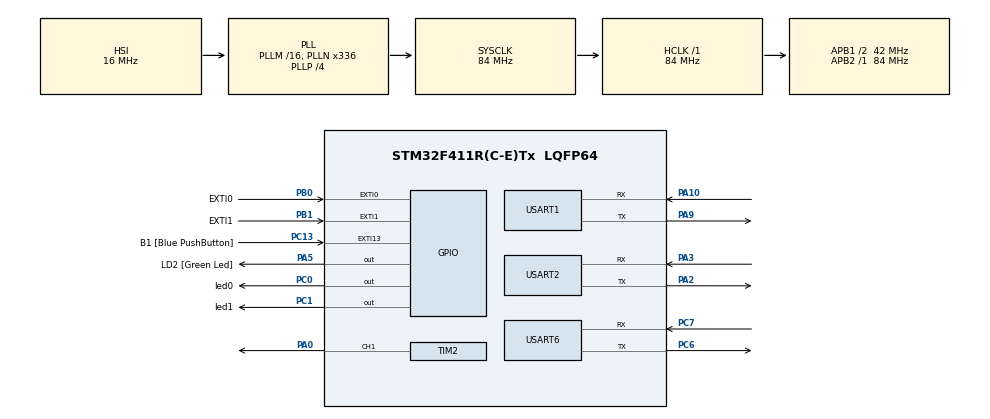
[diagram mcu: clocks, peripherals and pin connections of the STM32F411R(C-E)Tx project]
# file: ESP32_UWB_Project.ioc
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Dma.Request0=USART6_RX
Dma.Request1=USART1_RX
Dma.Request2=USART2_RX
Dma.USART1_RX.1.Direction=DMA_PERIPH_TO_MEMORY
Dma.USART1_RX.1.FIFOMode=DMA_FIFOMODE_DISABLE
Dma.USART1_RX.1.Instance=DMA2_Stream2
Dma.USART1_RX.1.MemDataAlignment=DMA_MDATAALIGN_BYTE
Dma.USART1_RX.1.MemInc=DMA_MINC_ENABLE
Dma.USART1_RX.1.Mode=DMA_NORMAL
Dma.USART1_RX.1.PeriphDataAlignment=DMA_PDATAALIGN_BYTE
Dma.USART1_RX.1.PeriphInc=DMA_PINC_DISABLE
Dma.USART1_RX.1.Priority=DMA_PRIORITY_LOW
Dma.USART2_RX.2.Direction=DMA_PERIPH_TO_MEMORY
Dma.USART2_RX.2.FIFOMode=DMA_FIFOMODE_DISABLE
Dma.USART2_RX.2.Instance=DMA1_Stream5
Dma.USART2_RX.2.MemDataAlignment=DMA_MDATAALIGN_BYTE
Dma.USART2_RX.2.MemInc=DMA_MINC_ENABLE
Dma.USART2_RX.2.Mode=DMA_NORMAL
Dma.USART2_RX.2.PeriphDataAlignment=DMA_PDATAALIGN_BYTE
Dma.USART2_RX.2.PeriphInc=DMA_PINC_DISABLE
Dma.USART2_RX.2.Priority=DMA_PRIORITY_LOW
Dma.USART6_RX.0.Direction=DMA_PERIPH_TO_MEMORY
Dma.USART6_RX.0.FIFOMode=DMA_FIFOMODE_DISABLE
Dma.USART6_RX.0.Instance=DMA2_Stream1
Dma.USART6_RX.0.MemDataAlignment=DMA_MDATAALIGN_BYTE
Dma.USART6_RX.0.MemInc=DMA_MINC_ENABLE
Dma.USART6_RX.0.Mode=DMA_NORMAL
Dma.USART6_RX.0.PeriphDataAlignment=DMA_PDATAALIGN_BYTE
Dma.USART6_RX.0.PeriphInc=DMA_PINC_DISABLE
Dma.USART6_RX.0.Priority=DMA_PRIORITY_LOW
Mcu.Family=STM32F4
Mcu.Name=STM32F411R(C-E)Tx
Mcu.Package=LQFP64
NVIC.DMA1_Stream5_IRQn=true\:0\:0\:false\:true\:true\:8\:false\:true\:true
NVIC.DMA2_Stream1_IRQn=true\:0\:0\:false\:true\:true\:5\:false\:true\:true
NVIC.DMA2_Stream2_IRQn=true\:0\:0\:false\:true\:true\:7\:false\:true\:true
NVIC.EXTI0_IRQn=true\:0\:0\:false\:true\:true\:1\:true\:true\:true
NVIC.EXTI1_IRQn=true\:0\:0\:false\:true\:true\:2\:true\:true\:true
NVIC.PriorityGroup=NVIC_PRIORITYGROUP_0
NVIC.USART1_IRQn=true\:0\:0\:false\:true\:true\:3\:true\:true\:true
NVIC.USART2_IRQn=true\:0\:0\:false\:true\:true\:4\:true\:true\:true
NVIC.USART6_IRQn=true\:0\:0\:false\:true\:true\:6\:true\:true\:true
PA0-WKUP.Signal=S_TIM2_CH1_ETR
PA10.Mode=Asynchronous
PA10.Signal=USART1_RX
PA14.GPIO_Label=TCK
PA14.Signal=SYS_JTCK-SWCLK
PA2.Mode=Asynchronous
PA2.Signal=USART2_TX
PA3.Mode=Asynchronous
PA3.Signal=USART2_RX
PA5.GPIO_Label=LD2 [Green Led]
PA5.Signal=GPIO_Output
PA9.Mode=Asynchronous
PA9.Signal=USART1_TX
PB0.GPIO_Label=EXTI0
PB0.Signal=GPXTI0
PB1.GPIO_Label=EXTI1
PB1.Signal=GPXTI1
PB3.GPIO_Label=SWO
PB3.Signal=SYS_JTDO-SWO
PC0.GPIO_Label=led0
PC0.Signal=GPIO_Output
PC1.GPIO_Label=led1
PC1.Signal=GPIO_Output
PC13-ANTI_TAMP.GPIO_Label=B1 [Blue PushButton]
PC13-ANTI_TAMP.GPIO_ModeDefaultEXTI=GPIO_MODE_IT_FALLING
PC13-ANTI_TAMP.Signal=GPXTI13
PC14-OSC32_IN.Mode=LSE-External-Oscillator
PC14-OSC32_IN.Signal=RCC_OSC32_IN
PC15-OSC32_OUT.Mode=LSE-External-Oscillator
PC15-OSC32_OUT.Signal=RCC_OSC32_OUT
PC6.Mode=Asynchronous
PC6.Signal=USART6_TX
PC7.Mode=Asynchronous
PC7.Signal=USART6_RX
PH0\ -\ OSC_IN.Mode=HSE-External-Clock-Source
PH0\ -\ OSC_IN.Signal=RCC_OSC_IN
PH1\ -\ OSC_OUT.Mode=HSE-External-Clock-Source
PH1\ -\ OSC_OUT.Signal=RCC_OSC_OUT
ProjectManager.HeapSize=0x200
ProjectManager.StackSize=0x400
ProjectManager.TargetToolchain=STM32CubeIDE
RCC.48MHZClocksFreq_Value=84000000
RCC.AHBFreq_Value=84000000
RCC.APB1CLKDivider=RCC_HCLK_DIV2
RCC.APB1Freq_Value=42000000
RCC.APB1TimFreq_Value=84000000
RCC.APB2Freq_Value=84000000
RCC.APB2TimFreq_Value=84000000
RCC.CortexFreq_Value=84000000
RCC.FLatency-AdvancedSettings=FLASH_LATENCY_2
RCC.HCLKFreq_Value=84000000
RCC.HSE_VALUE=8000000
RCC.HSI_VALUE=16000000
RCC.PLLN=336
RCC.PLLP=RCC_PLLP_DIV4
RCC.SYSCLKFreq_VALUE=84000000
RCC.SYSCLKSource=RCC_SYSCLKSOURCE_PLLCLK
RCC.VCOOutputFreq_Value=336000000
SH.S_TIM2_CH1_ETR.0=TIM2_CH1,PWM Generation1 CH1
TIM2.Channel-PWM\ Generation1\ CH1=TIM_CHANNEL_1
TIM2.Period=1000-1
TIM2.Prescaler=21-1
TIM2.Pulse-PWM\ Generation1\ CH1=500
USART1.VirtualMode=VM_ASYNC
USART2.VirtualMode=VM_ASYNC
USART6.VirtualMode=VM_ASYNC
VP_TIM2_VS_ClockSourceINT.Mode=Internal
board=NUCLEO-F411RE

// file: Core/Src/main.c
/* USER CODE BEGIN Header */
/**
  ******************************************************************************
  * @file           : main.c
  * @brief          : Main program body
  ******************************************************************************
  * @attention
  *
  * Copyright (c) 2024 STMicroelectronics.
  * All rights reserved.
  *
  * This software is licensed under terms that can be found in the LICENSE file
  * in the root directory of this software component.
  * If no LICENSE file comes with this software, it is provided AS-IS.
  *
  ******************************************************************************
  */
/* USER CODE END Header */
#include "main.h"

/* USER CODE BEGIN Includes */

#include <stdio.h> // sprintf 등
#include <math.h>
#include <string.h> // strlen(const char *s) 등
#include <stdlib.h> //  exit() atoi() rand() srand() system()

/* USER CODE END Includes */

/* USER CODE BEGIN PD */

#define RxBuf_SIZE_uart1 8
#define MainBuf_SIZE_uart1 8
#define RxBuf_SIZE_uart2 8
#define MainBuf_SIZE_uart2 8

/* USER CODE END PD */

TIM_HandleTypeDef htim2;

UART_HandleTypeDef huart1;
UART_HandleTypeDef huart2;
UART_HandleTypeDef huart6;
DMA_HandleTypeDef hdma_usart1_rx;
DMA_HandleTypeDef hdma_usart2_rx;
DMA_HandleTypeDef hdma_usart6_rx;

/* USER CODE BEGIN PV */

extern DMA_HandleTypeDef hdma_usart1_rx;
uint8_t RxBuf_uart1[RxBuf_SIZE_uart1];
uint8_t MainBuf_uart1[MainBuf_SIZE_uart1];
extern DMA_HandleTypeDef hdma_usart6_rx;
uint8_t RxBuf_uart2[RxBuf_SIZE_uart2];
uint8_t MainBuf_uart2[MainBuf_SIZE_uart2];

/* USER CODE END PV */

void SystemClock_Config(void);
static void MX_GPIO_Init(void);
static void MX_DMA_Init(void);
static void MX_USART2_UART_Init(void);
static void MX_USART1_UART_Init(void);
static void MX_USART6_UART_Init(void);
static void MX_TIM2_Init(void);
static void MX_NVIC_Init(void);
/* USER CODE BEGIN PFP */

//printf
#ifdef __GNUC__
#define PUTCHAR_PROTOTYPE int __io_putchar(int ch)
#else
#define PUTCHAR_PROTOTYPE int fputc(int ch, FILE *f)
#endif

/**
 * @brief Retargets the C library printf function to the USART
 * @param None
 * @retval None
 */

//printf
PUTCHAR_PROTOTYPE{
   if (ch == '\n') HAL_UART_Transmit(&huart2, (uint8_t*)"\r", 1, 0xFFFF);
   HAL_UART_Transmit(&huart2, (uint8_t*)&ch, 1, 0xFFFF);
   return ch;
}

/* USER CODE END PFP */

/* USER CODE BEGIN 0 */

float rx_value_uart1 = 0.0;
float rx_value_uart2 = 0.0;

//average filter
#define MASK_LENGTH 5
uint16_t raw_array_1[MASK_LENGTH] = {0,};
uint16_t raw_array_index_1 = 0;
uint16_t raw_array_2[MASK_LENGTH] = {0,};
uint16_t raw_array_index_2 = 0;

//average value
float ch1_value0 = 0.0;
float ch1_value1 = 0.0;
float ch1_value2 = 0.0;
float ch1_value3 = 0.0;
float ch1_value4 = 0.0;

float ch2_value0 = 0.0;
float ch2_value1 = 0.0;
float ch2_value2 = 0.0;
float ch2_value3 = 0.0;
float ch2_value4 = 0.0;
float ch2_value5 = 0.0;

float sum_1 = 0.0;
float sum_2 = 0.0;

uint8_t TxBuf_1[8] = {0,};
uint8_t TxBuf_2[8] = {0,};

//UART_RX DMA
uint16_t oldPos_uart1 = 0;
uint16_t newPos_uart1 = 0;
uint16_t oldPos_uart2 = 0;
uint16_t newPos_uart2 = 0;

//////////////////////////MOTOR///////////////////////
#define straight 0xaa
#define right 0xbb
#define left 0xcc

//모터드라이버 엔코더 값 기준으로 직진 보정한 pwm 값
#define motor_pwm1_L 320
#define motor_pwm2_R 340

int speed_ch1,speed_ch2;
uint8_t MOTOR_SPEED_UWB[12] = {0,};

unsigned short MOTOR_CRC(unsigned char *addr, int num)
{
   unsigned short MOTOR_CRC = 0xFFFF;
   int i;
   while (num--)
   {
      MOTOR_CRC ^= *addr++;
      for (i = 0; i < 8; i++)
      {
         if (MOTOR_CRC & 1)
         {
            MOTOR_CRC >>= 1;
            MOTOR_CRC ^= 0xA001;
         }
         else
         {
            MOTOR_CRC >>= 1;
         }
      }
   }
   return MOTOR_CRC;
}

void Packet_UWB(int Speed_Value1 , int Speed_Value2, int direction)
{
   MOTOR_SPEED_UWB[0] = 0x11;
   MOTOR_SPEED_UWB[1] = 0x22;

   //uwb_data_1
   MOTOR_SPEED_UWB[2] = (Speed_Value1 >> 8) & 0xFF;
   MOTOR_SPEED_UWB[3] = Speed_Value1 & 0xFF;

   //uwb_data_2
   MOTOR_SPEED_UWB[4] = (Speed_Value2 >> 8) & 0xFF;
   MOTOR_SPEED_UWB[5] = Speed_Value2 & 0xFF;

   unsigned int crcValue = MOTOR_CRC(MOTOR_SPEED_UWB, 6);
   MOTOR_SPEED_UWB[7] = (crcValue >> 8) & 0xFF;
   MOTOR_SPEED_UWB[6] = crcValue & 0xFF;

   MOTOR_SPEED_UWB[8] = 0x08;
   MOTOR_SPEED_UWB[9] = 0x09;

   if(direction == 1)
   {
      MOTOR_SPEED_UWB[10] = straight;
   }
   else if(direction == 2)
   {
      MOTOR_SPEED_UWB[10] = right;
   }
   else if(direction == 3)
   {
      MOTOR_SPEED_UWB[10] = left;
   }

   MOTOR_SPEED_UWB[11] = 0xEE; //address check
   HAL_Delay(1);

   HAL_UART_Transmit(&huart1, MOTOR_SPEED_UWB, 12, 100);
   //HAL_UART_Transmit(&huart2, MOTOR_SPEED_UWB, 12, 100); //terminal
   memset(MOTOR_SPEED_UWB, 0, sizeof(MOTOR_SPEED_UWB));
}

void MOTOR_control()
{
   if(sum_1 <= 0.5 && sum_2 <= 0.5)
   {
      speed_ch1 = 0;
      speed_ch2 = 0;
      Packet_UWB(speed_ch1,speed_ch2 , 1);
      HAL_Delay(1);
      if(sum_1 < 0.3 && sum_2 < 0.3)
      {
    	  HAL_TIM_PWM_Start(&htim2, TIM_CHANNEL_1); // Buzzer ON
      }
      else
      {
    	  HAL_TIM_PWM_Stop(&htim2, TIM_CHANNEL_1);  // Buzzer OFF
      }
   }
   else if(sum_1 > 0.5 && sum_2 > 0.5 )
   {
	   HAL_TIM_PWM_Stop(&htim2, TIM_CHANNEL_1);  // Buzzer OFF
      if(sum_1 - sum_2 > 0.1)
      {
         speed_ch1 = motor_pwm1_L + 200 ;
         speed_ch2 = motor_pwm2_R   ;
      }
      else if(sum_1 - sum_2 < -0.1)
      {
         speed_ch1 = motor_pwm1_L ;
         speed_ch2 = motor_pwm2_R + 200 ;
      }
      else if(sum_1 >= 1.5 && sum_2 >= 1.5)
      {
         if(sum_1 - sum_2 < 0.2)
         {
            speed_ch1 = motor_pwm1_L + (sum_1*150) + 200 ;
            speed_ch2 = motor_pwm2_R + (sum_2*150);
         }
         else if(sum_1 - sum_2 < -0.2)
         {
            speed_ch1 = motor_pwm1_L + (sum_1*150);
            speed_ch2 = motor_pwm2_R + (sum_2*150) + 200 ;
         }
         else
         {
            speed_ch1 = motor_pwm1_L + (sum_1*150);
            speed_ch2 = motor_pwm2_R + (sum_2*150);
         }
      }
      else
      {
         speed_ch1 = motor_pwm1_L ;
         speed_ch2 = motor_pwm2_R ;
      }
      Packet_UWB(speed_ch1 , speed_ch2 , 1);
      //HAL_Delay(1);
   }
   else if(sum_1 > 0.5 && sum_2 < 0.5 )
   {
	   HAL_TIM_PWM_Stop(&htim2, TIM_CHANNEL_1);  // Buzzer OFF
      speed_ch1 = motor_pwm1_L + 50;
      speed_ch2 = motor_pwm2_R + 50;
      Packet_UWB(speed_ch1, speed_ch2 , 2);
   }
   else if(sum_1 < 0.5 && sum_2 > 0.5 )
   {
	   HAL_TIM_PWM_Stop(&htim2, TIM_CHANNEL_1);  // Buzzer OFF
      speed_ch1 = motor_pwm1_L + 50;
      speed_ch2 = motor_pwm2_R + 50;
      Packet_UWB(speed_ch1, speed_ch2 , 3);
   }
}
///////////////////////////////MOTOR//////////////////////////////////

unsigned Array_flag_ch1 = 0;
unsigned Array_flag_ch2 = 0;
void insertIntoRawArray_ch1(float value)
{
   if(value >= 200)
   {//데이터 튀는 값 저장X
   }
   else if(value < 200)
   {
      if(raw_array_index_1 == 0) ch1_value0 = value;
      else if(raw_array_index_1 == 1) ch1_value1 = value;
      //else if(raw_array_index_1 == 2) ch1_value2 = value;
      //else if(raw_array_index_1 == 3) ch1_value3 = value;
      //else if(raw_array_index_1 == 4) ch1_value4 = value;
      raw_array_index_1++;

      if (raw_array_index_1 >= 2)
      {
          //sum_1 = ( ch1_value0 + ch1_value1 + ch1_value2 + ch1_value3 + ch1_value4 ) / MASK_LENGTH ;
          sum_1 =  (ch1_value0 + ch1_value1) / 2 ;
          //printf("%f\n\r", sum_1);

          uint8_t TX_sum[50];
          sprintf((char*)TX_sum, "sum_1 : %f \r\n", sum_1);
          HAL_UART_Transmit(&huart2, TX_sum, strlen((const char *)TX_sum), 100); //terminal

          raw_array_index_1 = 0;
          Array_flag_ch1 = 1;
       }
   }
}

void insertIntoRawArray_ch2(float value)
{
   if(value >= 200)
   {//데이터 튀는 값 저장X
   }
   else if(value < 200)
   {
      if(raw_array_index_2 == 0) ch2_value0 = value;
      //else if(raw_array_index_2 == 1) ch2_value1 = value;
      //else if(raw_array_index_2 == 2) ch2_value2 = value;
      //else if(raw_array_index_2 == 3) ch2_value3 = value;

      raw_array_index_2++;

      if (raw_array_index_2 >= 1)
      {
          //sum_2 = ( ch2_value0 + ch2_value1 + ch2_value2 + ch2_value3 ) / 4 ;

          sum_2 = ch2_value0 ;
          //printf("%f\n\r",sum_2);

          uint8_t TX_sum[50];
          sprintf((char*)TX_sum, "sum_2 : %f \r\n", sum_2);
          HAL_UART_Transmit(&huart2, TX_sum, strlen((const char *)TX_sum), 100); //terminal
          raw_array_index_2 = 0;
          Array_flag_ch2 = 1;
      }
   }
}

//UART DMA RX , [UART1 , UART6]
//ESP32_UWB , data RX
void HAL_UARTEx_RxEventCallback(UART_HandleTypeDef *huart, uint16_t Size)
{
   if (huart->Instance == USART1)
   {
      oldPos_uart1 = newPos_uart1;

      if (oldPos_uart1+Size > MainBuf_SIZE_uart1)
      {
         uint16_t datatocopy = MainBuf_SIZE_uart1-oldPos_uart1;
         memcpy ((uint8_t *)MainBuf_uart1+oldPos_uart1, RxBuf_uart1, datatocopy);

         oldPos_uart1 = 0;
         memcpy ((uint8_t *)MainBuf_uart1, (uint8_t *)RxBuf_uart1+datatocopy, (Size-datatocopy));
         newPos_uart1 = (Size-datatocopy);
      }
      else
      {
         memcpy ((uint8_t *)MainBuf_uart1+oldPos_uart1, RxBuf_uart1, Size);
         newPos_uart1 = Size+oldPos_uart1;
      }

      /* start the DMA again */
      HAL_UARTEx_ReceiveToIdle_DMA(&huart1, (uint8_t *) RxBuf_uart1, RxBuf_SIZE_uart1);
      __HAL_DMA_DISABLE_IT(&hdma_usart1_rx, DMA_IT_HT);
      //HAL_UART_Transmit_IT(&huart2 ,(uint8_t *) RxBuf_uart1,RxBuf_SIZE_uart1);
      sscanf((char *)RxBuf_uart1,"%f",&rx_value_uart1);

      if(rx_value_uart1 >= 0)
      {
         //average filter
            insertIntoRawArray_ch1(rx_value_uart1);
      }
      else insertIntoRawArray_ch1(0); //음수 데이터로 튀는 값은 0 처리

      //ESP32_UWB DATA TEST
      //*************************************************//
      /*if(rx_value_uart1 < 10.0)
      {
         //HAL_GPIO_WritePin(GPIOC, led0_Pin, GPIO_PIN_SET);
      }

      if(rx_value_uart1 >= 10.0)
      {
         //HAL_GPIO_WritePin(GPIOC, led0_Pin, GPIO_PIN_RESET);
      }*/
      //*************************************************//
   }

   if (huart->Instance == USART6)
   {
      oldPos_uart2 = newPos_uart2;  // Update the last position before copying new data

      if (oldPos_uart2+Size > MainBuf_SIZE_uart2)  // If the current position + new data size is greater than the main buffer
      {
         uint16_t datatocopy_2 = MainBuf_SIZE_uart2-oldPos_uart2;  // find out how much space is left in the main buffer
         memcpy ((uint8_t *)MainBuf_uart2+oldPos_uart2, RxBuf_uart2, datatocopy_2);  // copy data in that remaining space

         oldPos_uart2 = 0;  // point to the start of the buffer
         memcpy ((uint8_t *)MainBuf_uart2, (uint8_t *)RxBuf_uart2+datatocopy_2, (Size-datatocopy_2));  // copy the remaining data
         newPos_uart2 = (Size-datatocopy_2);  // update the position
      }

      else
      {
         memcpy ((uint8_t *)MainBuf_uart2+oldPos_uart2, RxBuf_uart2, Size);
         newPos_uart2 = Size+oldPos_uart2;
      }

      /* start the DMA again */
      HAL_UARTEx_ReceiveToIdle_DMA(&huart6, (uint8_t *) RxBuf_uart2, RxBuf_SIZE_uart2);
      __HAL_DMA_DISABLE_IT(&hdma_usart6_rx, DMA_IT_HT);
      //HAL_UART_Transmit_IT(&huart2 ,(uint8_t *) RxBuf_uart2,RxBuf_SIZE_uart2);
      sscanf((char *) RxBuf_uart2,"%f",&rx_value_uart2);

      if(rx_value_uart2 >= 0)
      {
         //average filter
            insertIntoRawArray_ch2(rx_value_uart2);
      }
      else insertIntoRawArray_ch2(0); //음수 데이터로 튀는 값은 0 처리

      /*if(rx_value_uart2 < 10.0)
      {
        //HAL_GPIO_WritePin(GPIOC, led1_Pin, GPIO_PIN_SET);
      }

      if(rx_value_uart2 >= 10.0)
      {
         //HAL_GPIO_WritePin(GPIOC, led1_Pin, GPIO_PIN_RESET);
      }*/
   }
}

//Buzzer
void Warning_Sound()
{
	 HAL_TIM_PWM_Start(&htim2, TIM_CHANNEL_1); // Buzzer ON
	 //HAL_Delay(3000); // 3s ON
	 HAL_TIM_PWM_Stop(&htim2, TIM_CHANNEL_1);  // Buzzer OFF
}

/* USER CODE END 0 */

int main(void)
{

  /* MCU Configuration--------------------------------------------------------*/

  /* Reset of all peripherals, Initializes the Flash interface and the Systick. */
  HAL_Init();

  /* Configure the system clock */
  SystemClock_Config();

  /* Initialize all configured peripherals */
  MX_GPIO_Init();
  MX_DMA_Init();
  MX_USART2_UART_Init();
  MX_USART1_UART_Init();
  MX_USART6_UART_Init();
  MX_TIM2_Init();

  /* Initialize interrupts */
  MX_NVIC_Init();
  /* USER CODE BEGIN 2 */

 /////////////////////stm32 comportmaster check
  HAL_UART_Transmit_IT(&huart2 ,(uint8_t *) RxBuf_uart2,RxBuf_SIZE_uart2);
  //////////////////////////

  //uart_DMA
  HAL_UARTEx_ReceiveToIdle_DMA(&huart1, RxBuf_uart1, RxBuf_SIZE_uart1);
  __HAL_DMA_DISABLE_IT(&hdma_usart1_rx, DMA_IT_HT); //Half Transfer ,DISABLE
  HAL_UARTEx_ReceiveToIdle_DMA(&huart6, RxBuf_uart2, RxBuf_SIZE_uart2);
  __HAL_DMA_DISABLE_IT(&hdma_usart6_rx, DMA_IT_HT);

  //HAL_UART_Receive_DMA(&huart6, &rx_dma_data6, 8);

  //uart test
  //HAL_UART_Transmit(&huart2, "hello\n\r", 6,100);

  //HAL_Delay(10);

  /* USER CODE END 2 */

  /* Infinite loop */
  while (1)
  {

    /* USER CODE BEGIN 3 */
     if( (Array_flag_ch1 == 1) && (Array_flag_ch2 == 1) )
     {
    	MOTOR_control();
        Array_flag_ch1 = 0;
        Array_flag_ch2 = 0;
     }

  }
  /* USER CODE END 3 */
}

void SystemClock_Config(void)
{
  RCC_OscInitTypeDef RCC_OscInitStruct = {0};
  RCC_ClkInitTypeDef RCC_ClkInitStruct = {0};

  /** Configure the main internal regulator output voltage
  */
  __HAL_RCC_PWR_CLK_ENABLE();
  __HAL_PWR_VOLTAGESCALING_CONFIG(PWR_REGULATOR_VOLTAGE_SCALE1);

  /** Initializes the RCC Oscillators according to the specified parameters
  * in the RCC_OscInitTypeDef structure.
  */
  RCC_OscInitStruct.OscillatorType = RCC_OSCILLATORTYPE_HSI;
  RCC_OscInitStruct.HSIState = RCC_HSI_ON;
  RCC_OscInitStruct.HSICalibrationValue = RCC_HSICALIBRATION_DEFAULT;
  RCC_OscInitStruct.PLL.PLLState = RCC_PLL_ON;
  RCC_OscInitStruct.PLL.PLLSource = RCC_PLLSOURCE_HSI;
  RCC_OscInitStruct.PLL.PLLM = 16;
  RCC_OscInitStruct.PLL.PLLN = 336;
  RCC_OscInitStruct.PLL.PLLP = RCC_PLLP_DIV4;
  RCC_OscInitStruct.PLL.PLLQ = 4;
  if (HAL_RCC_OscConfig(&RCC_OscInitStruct) != HAL_OK)
  {
    Error_Handler();
  }

  /** Initializes the CPU, AHB and APB buses clocks
  */
  RCC_ClkInitStruct.ClockType = RCC_CLOCKTYPE_HCLK|RCC_CLOCKTYPE_SYSCLK
                              |RCC_CLOCKTYPE_PCLK1|RCC_CLOCKTYPE_PCLK2;
  RCC_ClkInitStruct.SYSCLKSource = RCC_SYSCLKSOURCE_PLLCLK;
  RCC_ClkInitStruct.AHBCLKDivider = RCC_SYSCLK_DIV1;
  RCC_ClkInitStruct.APB1CLKDivider = RCC_HCLK_DIV2;
  RCC_ClkInitStruct.APB2CLKDivider = RCC_HCLK_DIV1;

  if (HAL_RCC_ClockConfig(&RCC_ClkInitStruct, FLASH_LATENCY_2) != HAL_OK)
  {
    Error_Handler();
  }
}

/**
  * @brief NVIC Configuration.
  * @retval None
  */
static void MX_NVIC_Init(void)
{
  /* EXTI0_IRQn interrupt configuration */
  HAL_NVIC_SetPriority(EXTI0_IRQn, 0, 0);
  HAL_NVIC_EnableIRQ(EXTI0_IRQn);
  /* EXTI1_IRQn interrupt configuration */
  HAL_NVIC_SetPriority(EXTI1_IRQn, 0, 0);
  HAL_NVIC_EnableIRQ(EXTI1_IRQn);
  /* USART1_IRQn interrupt configuration */
  HAL_NVIC_SetPriority(USART1_IRQn, 0, 0);
  HAL_NVIC_EnableIRQ(USART1_IRQn);
  /* USART2_IRQn interrupt configuration */
  HAL_NVIC_SetPriority(USART2_IRQn, 0, 0);
  HAL_NVIC_EnableIRQ(USART2_IRQn);
  /* DMA2_Stream1_IRQn interrupt configuration */
  HAL_NVIC_SetPriority(DMA2_Stream1_IRQn, 0, 0);
  HAL_NVIC_EnableIRQ(DMA2_Stream1_IRQn);
  /* USART6_IRQn interrupt configuration */
  HAL_NVIC_SetPriority(USART6_IRQn, 0, 0);
  HAL_NVIC_EnableIRQ(USART6_IRQn);
  /* DMA2_Stream2_IRQn interrupt configuration */
  HAL_NVIC_SetPriority(DMA2_Stream2_IRQn, 0, 0);
  HAL_NVIC_EnableIRQ(DMA2_Stream2_IRQn);
  /* DMA1_Stream5_IRQn interrupt configuration */
  HAL_NVIC_SetPriority(DMA1_Stream5_IRQn, 0, 0);
  HAL_NVIC_EnableIRQ(DMA1_Stream5_IRQn);
}

static void MX_TIM2_Init(void)
{

  TIM_ClockConfigTypeDef sClockSourceConfig = {0};
  TIM_MasterConfigTypeDef sMasterConfig = {0};
  TIM_OC_InitTypeDef sConfigOC = {0};

  htim2.Instance = TIM2;
  htim2.Init.Prescaler = 21-1;
  htim2.Init.CounterMode = TIM_COUNTERMODE_UP;
  htim2.Init.Period = 1000-1;
  htim2.Init.ClockDivision = TIM_CLOCKDIVISION_DIV1;
  htim2.Init.AutoReloadPreload = TIM_AUTORELOAD_PRELOAD_DISABLE;
  if (HAL_TIM_Base_Init(&htim2) != HAL_OK)
  {
    Error_Handler();
  }
  sClockSourceConfig.ClockSource = TIM_CLOCKSOURCE_INTERNAL;
  if (HAL_TIM_ConfigClockSource(&htim2, &sClockSourceConfig) != HAL_OK)
  {
    Error_Handler();
  }
  if (HAL_TIM_PWM_Init(&htim2) != HAL_OK)
  {
    Error_Handler();
  }
  sMasterConfig.MasterOutputTrigger = TIM_TRGO_RESET;
  sMasterConfig.MasterSlaveMode = TIM_MASTERSLAVEMODE_DISABLE;
  if (HAL_TIMEx_MasterConfigSynchronization(&htim2, &sMasterConfig) != HAL_OK)
  {
    Error_Handler();
  }
  sConfigOC.OCMode = TIM_OCMODE_PWM1;
  sConfigOC.Pulse = 500;
  sConfigOC.OCPolarity = TIM_OCPOLARITY_HIGH;
  sConfigOC.OCFastMode = TIM_OCFAST_DISABLE;
  if (HAL_TIM_PWM_ConfigChannel(&htim2, &sConfigOC, TIM_CHANNEL_1) != HAL_OK)
  {
    Error_Handler();
  }
  HAL_TIM_MspPostInit(&htim2);

}

static void MX_USART1_UART_Init(void)
{

  huart1.Instance = USART1;
  huart1.Init.BaudRate = 115200;
  huart1.Init.WordLength = UART_WORDLENGTH_8B;
  huart1.Init.StopBits = UART_STOPBITS_1;
  huart1.Init.Parity = UART_PARITY_NONE;
  huart1.Init.Mode = UART_MODE_TX_RX;
  huart1.Init.HwFlowCtl = UART_HWCONTROL_NONE;
  huart1.Init.OverSampling = UART_OVERSAMPLING_16;
  if (HAL_UART_Init(&huart1) != HAL_OK)
  {
    Error_Handler();
  }

}

static void MX_USART2_UART_Init(void)
{

  huart2.Instance = USART2;
  huart2.Init.BaudRate = 115200;
  huart2.Init.WordLength = UART_WORDLENGTH_8B;
  huart2.Init.StopBits = UART_STOPBITS_1;
  huart2.Init.Parity = UART_PARITY_NONE;
  huart2.Init.Mode = UART_MODE_TX_RX;
  huart2.Init.HwFlowCtl = UART_HWCONTROL_NONE;
  huart2.Init.OverSampling = UART_OVERSAMPLING_16;
  if (HAL_UART_Init(&huart2) != HAL_OK)
  {
    Error_Handler();
  }

}

static void MX_USART6_UART_Init(void)
{

  huart6.Instance = USART6;
  huart6.Init.BaudRate = 115200;
  huart6.Init.WordLength = UART_WORDLENGTH_8B;
  huart6.Init.StopBits = UART_STOPBITS_1;
  huart6.Init.Parity = UART_PARITY_NONE;
  huart6.Init.Mode = UART_MODE_TX_RX;
  huart6.Init.HwFlowCtl = UART_HWCONTROL_NONE;
  huart6.Init.OverSampling = UART_OVERSAMPLING_16;
  if (HAL_UART_Init(&huart6) != HAL_OK)
  {
    Error_Handler();
  }

}

static void MX_DMA_Init(void)
{

  /* DMA controller clock enable */
  __HAL_RCC_DMA2_CLK_ENABLE();
  __HAL_RCC_DMA1_CLK_ENABLE();

}

static void MX_GPIO_Init(void)
{
  GPIO_InitTypeDef GPIO_InitStruct = {0};

  /* GPIO Ports Clock Enable */
  __HAL_RCC_GPIOC_CLK_ENABLE();
  __HAL_RCC_GPIOH_CLK_ENABLE();
  __HAL_RCC_GPIOA_CLK_ENABLE();
  __HAL_RCC_GPIOB_CLK_ENABLE();

  /*Configure GPIO pin Output Level */
  HAL_GPIO_WritePin(GPIOC, led0_Pin|led1_Pin, GPIO_PIN_RESET);

  /*Configure GPIO pin Output Level */
  HAL_GPIO_WritePin(LD2_GPIO_Port, LD2_Pin, GPIO_PIN_RESET);

  /*Configure GPIO pin : B1_Pin */
  GPIO_InitStruct.Pin = B1_Pin;
  GPIO_InitStruct.Mode = GPIO_MODE_IT_FALLING;
  GPIO_InitStruct.Pull = GPIO_NOPULL;
  HAL_GPIO_Init(B1_GPIO_Port, &GPIO_InitStruct);

  /*Configure GPIO pins : led0_Pin led1_Pin */
  GPIO_InitStruct.Pin = led0_Pin|led1_Pin;
  GPIO_InitStruct.Mode = GPIO_MODE_OUTPUT_PP;
  GPIO_InitStruct.Pull = GPIO_NOPULL;
  GPIO_InitStruct.Speed = GPIO_SPEED_FREQ_LOW;
  HAL_GPIO_Init(GPIOC, &GPIO_InitStruct);

  /*Configure GPIO pin : LD2_Pin */
  GPIO_InitStruct.Pin = LD2_Pin;
  GPIO_InitStruct.Mode = GPIO_MODE_OUTPUT_PP;
  GPIO_InitStruct.Pull = GPIO_NOPULL;
  GPIO_InitStruct.Speed = GPIO_SPEED_FREQ_LOW;
  HAL_GPIO_Init(LD2_GPIO_Port, &GPIO_InitStruct);

  /*Configure GPIO pins : EXTI0_Pin EXTI1_Pin */
  GPIO_InitStruct.Pin = EXTI0_Pin|EXTI1_Pin;
  GPIO_InitStruct.Mode = GPIO_MODE_IT_RISING;
  GPIO_InitStruct.Pull = GPIO_NOPULL;
  HAL_GPIO_Init(GPIOB, &GPIO_InitStruct);

}

void Error_Handler(void)
{
  __disable_irq();
  while (1)
  {
  }
}
